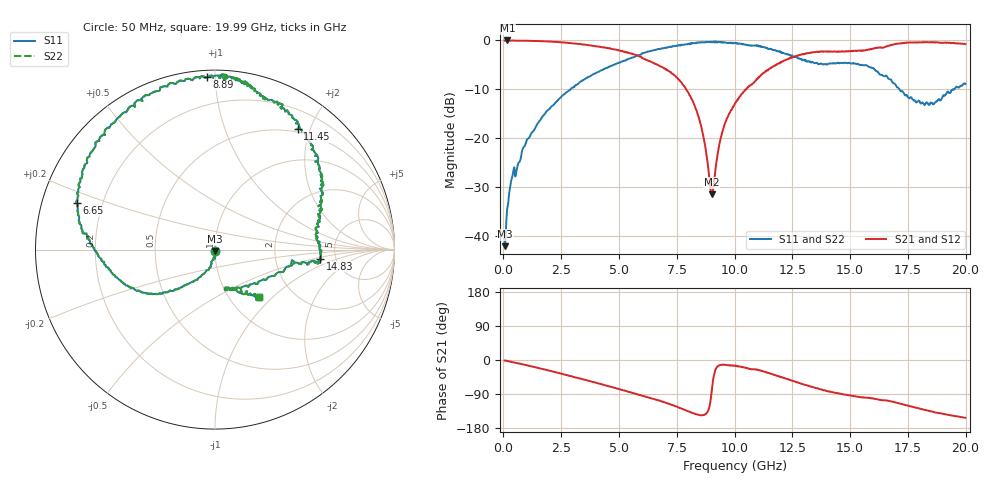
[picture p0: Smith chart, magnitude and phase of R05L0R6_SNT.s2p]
! 250R05L0R6CV4
! Data taken January 31, 2003
! Data taken on a HP 8720C VNA using a shunt-through test fixture and TRL* de-embedding
#	mhz	s	ma	r	50
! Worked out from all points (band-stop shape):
!   998 points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, 50 MHz to 19.99 GHz, reference 50 ohm
!   highest |S21| = 0.00 dB at 170 MHz (marker M1); lowest = -31.4 dB at 9.01 GHz (marker M2)
!   |S21| within 3 dB of the highest: start of sweep to 5.764 GHz; 12.8 GHz to end of sweep
!   lowest |S11| = -42.0 dB at 70 MHz (marker M3), VSWR 1.02, Z = 50 - j0.796 ohm
!   |S11| at or under -10 dB: start of sweep to 2.894 GHz; 17.14 GHz to 19.44 GHz (2.301 GHz wide, 12.6 % of centre); 19.4541 GHz to 19.49172 GHz (37.62 MHz wide, 0.193 % of centre)
!   |S22| runs from -42.0 to -0.2 dB; largest |S21 - S12| = 0
!   S11 on the Smith chart (normalised r, x): 50 MHz: 1.00, -0.02; 6.65 GHz: 0.11, +0.16; 8.89 GHz: 0.04, +0.95; 11.45 GHz: 0.45, +1.81; 14.83 GHz: 3.77, -0.58; 19.99 GHz: 1.35, -0.83
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50  0.0096 -75.6  0.9946 -1.6  0.9946 -1.6  0.0096 -75.6
70  0.00796 -90.4  0.997 -1.5  0.997 -1.5  0.00796 -90.4
170  0.01956 -87.7  1 -2.4  1 -2.4  0.01956 -87.7
390  0.04155 -90.2  0.9962 -5.6  0.9962 -5.6  0.04155 -90.2
1030  0.09808 -104.1  0.9942 -14.2  0.9942 -14.2  0.09808 -104.1
3390  0.3854 -140.7  0.9127 -50.1  0.9127 -50.1  0.3854 -140.7
5070  0.6011 -169.6  0.7858 -77.9  0.7858 -77.9  0.6011 -169.6
6650  0.8105 161.3  0.5648 -105.3  0.5648 -105.3  0.8105 161.3
6710  0.8149 160.5  0.5567 -106.5  0.5567 -106.5  0.8149 160.5
7450  0.8773 140.7  0.4316 -122.1  0.4316 -122.1  0.8773 140.7
8170  0.9434 114.3  0.2476 -139.8  0.2476 -139.8  0.9434 114.3
8590  0.9541 100.2  0.123 -146.1  0.123 -146.1  0.9541 100.2
8890  0.9616 92.7  0.04376 -128.4  0.04376 -128.4  0.9616 92.7
9010  0.9688 90.2  0.02697 -83.2  0.02697 -83.2  0.9688 90.2
9470  0.9637 83.0  0.1178 -12.4  0.1178 -12.4  0.9637 83.0
10030  0.9389 79.0  0.2283 -15.0  0.2283 -15.0  0.9389 79.0
11450  0.8144 55.6  0.4946 -34.0  0.4946 -34.0  0.8144 55.6
13350  0.6053 15.0  0.756 -71.4  0.756 -71.4  0.6053 15.0
14830  0.5895 -4.9  0.7726 -91.7  0.7726 -91.7  0.5895 -4.9
16670  0.4053 -15.0  0.8806 -107.7  0.8806 -107.7  0.4053 -15.0
18210  0.222 -74.1  0.9611 -131.5  0.9611 -131.5  0.222 -74.1
19990  0.3611 -47.6  0.9178 -152.5  0.9178 -152.5  0.3611 -47.6
